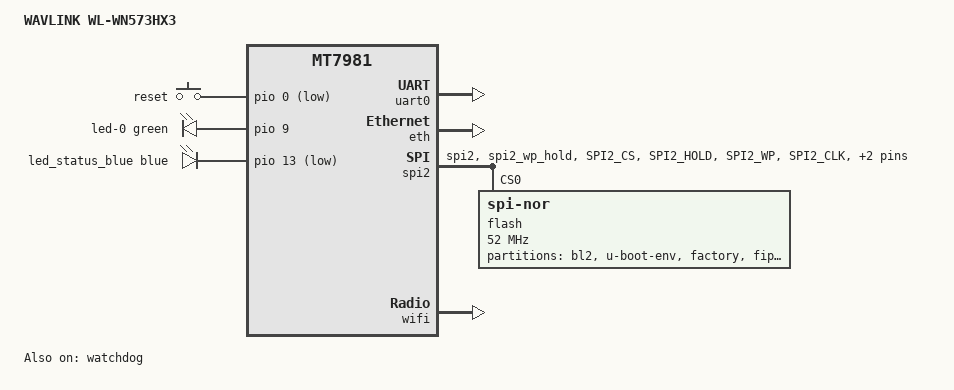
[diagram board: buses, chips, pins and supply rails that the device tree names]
// SPDX-License-Identifier: (GPL-2.0 OR MIT)

/dts-v1/;

#include "mt7981.dtsi"

/ {
	model = "WAVLINK WL-WN573HX3";
	compatible = "wavlink,wl-wn573hx3", "mediatek,mt7981";

	aliases {
		label-mac-device = &wifi;

		led-boot = &led_status_blue;
		led-failsafe = &led_status_blue;
		led-running = &led_status_blue;
		led-upgrade = &led_status_blue;

		serial0 = &uart0;
	};

	chosen {
		stdout-path = "serial0:115200n8";
	};

	gpio-keys {
		compatible = "gpio-keys";

		button-reset {
			label = "reset";
			linux,code = <KEY_RESTART>;
			gpios = <&pio 0 GPIO_ACTIVE_LOW>;
		};
	};

	leds {
		compatible = "gpio-leds";

		led-0 {
			color = <LED_COLOR_ID_GREEN>;
			function = LED_FUNCTION_LAN;
			gpios = <&pio 9 GPIO_ACTIVE_HIGH>;
		};

		led_status_blue: led-1 {
			color = <LED_COLOR_ID_BLUE>;
			function = LED_FUNCTION_STATUS;
			gpios = <&pio 13 GPIO_ACTIVE_LOW>;
		};
	};
};

&uart0 {
	status = "okay";
};

&watchdog {
	status = "okay";
};

&eth {
	pinctrl-names = "default";
	pinctrl-0 = <&mdio_pins>;

	status = "okay";

	gmac1: mac@1 {
		compatible = "mediatek,eth-mac";
		reg = <1>;
		phy-mode = "gmii";
		phy-handle = <&int_gbe_phy>;
		nvmem-cells = <&macaddr_hw_44e 0>;
		nvmem-cell-names = "mac-address";
	};
};

&spi0 {
	status = "disabled";
};

&spi2 {
	pinctrl-names = "default";
	pinctrl-0 = <&spi2_flash_pins>;
	status = "okay";

	flash@0 {
		#address-cells = <1>;
		#size-cells = <1>;

		compatible = "jedec,spi-nor";
		reg = <0>;

		spi-max-frequency = <52000000>;
		spi-tx-bus-width = <4>;
		spi-rx-bus-width = <4>;

		partitions {
			compatible = "fixed-partitions";
			#address-cells = <1>;
			#size-cells = <1>;

			partition@00000 {
				label = "bl2";
				reg = <0x00000 0x40000>;
				read-only;
			};

			partition@40000 {
				label = "u-boot-env";
				reg = <0x40000 0x10000>;
				read-only;
			};

			factory: partition@50000 {
				label = "factory";
				reg = <0x50000 0xb0000>;
				read-only;

				nvmem-layout {
					compatible = "fixed-layout";
					#address-cells = <1>;
					#size-cells = <1>;

					eeprom_factory_0: eeprom@0 {
						reg = <0x0 0x1000>;
					};
				};
			};

			partition@100000 {
				label = "fip";
				reg = <0x100000 0x80000>;
				read-only;
			};

			partition@f0000 {
				compatible = "denx,fit";
				label = "firmware";
				reg = <0x180000 0xe00000>;
			};

			partition@f80000 {
				label = "hw";
				reg = <0xf80000 0x80000>;

				nvmem-layout {
					compatible = "fixed-layout";
					#address-cells = <1>;
					#size-cells = <1>;

					macaddr_hw_44e: macaddr@44e {
						compatible = "mac-base";
						reg = <0x44e 0x11>;
						#nvmem-cell-cells = <1>;
					};
				};
			};
		};
	};
};

&pio {
	spi2_flash_pins: spi2-pins {
		mux {
			function = "spi";
			groups = "spi2", "spi2_wp_hold";
		};

		conf-pu {
			pins = "SPI2_CS", "SPI2_HOLD", "SPI2_WP";
			drive-strength = <8>;
			bias-pull-up = <103>;
		};

		conf-pd {
			pins = "SPI2_CLK", "SPI2_MOSI", "SPI2_MISO";
			drive-strength = <8>;
			bias-pull-down = <103>;
		};
	};
};

&wifi {
	status = "okay";

	nvmem-cells = <&eeprom_factory_0>;
	nvmem-cell-names = "eeprom";
};
